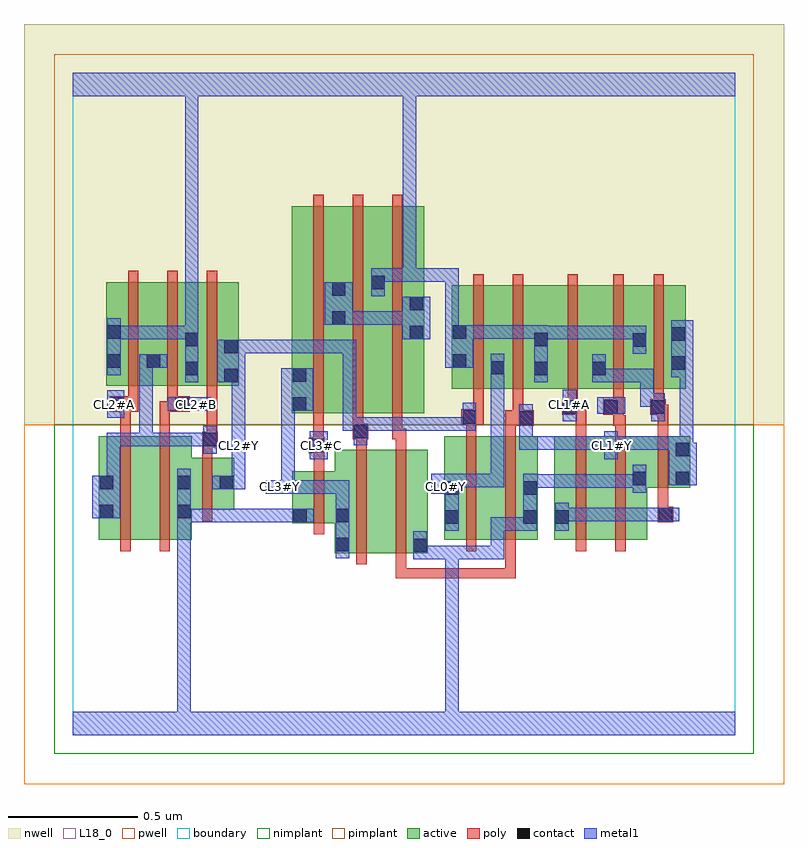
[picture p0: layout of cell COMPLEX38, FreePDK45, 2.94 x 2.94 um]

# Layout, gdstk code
import gdstk
lib = gdstk.Library(unit=1e-6, precision=1e-09)
def R(c, l, rs):  # rectangles x0, y0, x1, y1
    for r in rs: c.add(gdstk.rectangle(r[:2], r[2:], *l))
def A(c, l, x, y, w, h, nx, ny, dx, dy):  # array of equal rectangles
    R(c, l, [(x+i*dx, y+j*dy, x+i*dx+w, y+j*dy+h) for i in range(nx) for j in range(ny)])
active = (1, 0)
pwell = (2, 0)
nwell = (3, 0)
nimplant = (4, 0)
pimplant = (5, 0)
poly = (9, 0)
contact = (10, 0)
metal1 = (11, 0)
L18_0 = (18, 0)
boundary = (235, 0)

complex38 = lib.new_cell('COMPLEX38')
R(complex38, active, [(1.012,0.704,1.192,1.104), (1.012,0.704,1.072,0.88), (1.192,0.704,1.372,1.104), (1.312,0.704,1.372,1.104), (0.1,0.756,0.16,1.156), (0.1,0.756,0.28,1.156), (0.28,0.756,0.46,1.156), (0.4,0.756,0.46,1.072), (1.436,0.756,1.496,1.156), (1.436,0.756,1.616,1.156), (1.616,0.756,1.796,1.156), (1.736,0.756,1.796,1.156), (1.86,0.756,1.92,1.156), (1.86,0.756,2.04,1.156), (2.04,0.756,2.22,1.156), (2.16,0.756,2.22,1.156), (0.848,0.82,0.908,1.02), (0.848,0.82,1.072,1.02), (0.4,0.872,0.624,1.072), (0.564,0.872,0.624,1.072), (2.16,0.956,2.386,1.156), (2.326,0.956,2.386,1.156), (0.846,1.244,0.906,2.044), (0.846,1.244,1.058,2.044), (0.998,1.244,1.058,2.044), (0.998,1.244,1.21,2.044), (1.15,1.244,1.358,2.044), (1.298,1.244,1.358,2.044), (1.464,1.338,1.524,1.644), (1.464,1.338,1.672,1.738), (1.612,1.338,1.672,1.644), (1.612,1.338,1.84,1.738), (1.78,1.338,1.84,1.644), (1.78,1.338,2.064,1.738), (2.004,1.338,2.064,1.644), (2.004,1.338,2.22,1.738), (2.16,1.338,2.22,1.644), (2.16,1.338,2.368,1.738), (2.308,1.338,2.368,1.644), (0.13,1.35,0.19,1.644), (0.13,1.35,0.342,1.75), (0.282,1.35,0.49,1.75), (0.282,1.35,0.342,1.644), (0.43,1.35,0.49,1.644), (0.43,1.35,0.642,1.75), (0.582,1.35,0.642,1.644), (1.15,1.686,1.21,2.044)])
R(complex38, pwell, [(-0.188,-0.188,2.748,1.2)])
R(complex38, nwell, [(-0.188,1.2,2.748,2.748)])
R(complex38, nimplant, [(-0.072,-0.072,2.632,1.2)])
R(complex38, pimplant, [(-0.072,1.2,2.632,2.632)])
A(complex38, poly, 0.93, 1.2, 0.04, 0.888, 3, 1, 0.152, 0)
A(complex38, poly, 0.214, 1.306, 0.04, 0.488, 3, 1, 0.152, 0)
R(complex38, poly, [(1.248,0.606,1.288,0.646), (1.248,0.606,1.288,0.646), (1.248,0.606,1.288,0.646), (1.248,0.606,1.482,0.646), (1.248,0.606,1.288,0.7), (1.442,0.606,1.482,0.646), (1.442,0.606,1.482,0.646), (1.442,0.606,1.482,0.646), (1.442,0.606,1.712,0.646), (1.672,0.606,1.712,0.646), (1.672,0.606,1.712,0.646), (1.672,0.606,1.712,0.646), (1.672,0.606,1.712,0.752), (1.096,0.66,1.136,1.148), (1.248,0.66,1.288,1.148), (0.184,0.712,0.224,1.2), (0.336,0.712,0.376,1.2), (1.52,0.712,1.56,1.2), (1.672,0.712,1.712,1.2), (1.944,0.712,1.984,1.2), (2.096,0.712,2.136,1.2), (0.932,0.776,0.972,1.064), (2.26,0.824,2.32,0.884), (0.5,0.828,0.54,1.116), (2.26,0.844,2.3,0.952), (2.26,0.912,2.3,1.2), (0.932,1.024,0.972,1.13), (0.5,1.076,0.54,1.152), (0.912,1.09,0.972,1.15), (0.932,1.09,0.972,1.13), (0.932,1.09,0.972,1.13), (1.096,1.108,1.136,1.184), (1.248,1.108,1.288,1.184), (0.93,1.11,0.97,1.24), (0.5,1.112,0.56,1.172), (0.518,1.132,0.558,1.172), (0.518,1.132,0.558,1.172), (0.518,1.132,0.558,1.346), (1.082,1.144,1.142,1.204), (1.096,1.144,1.136,1.184), (1.096,1.144,1.136,1.184), (1.234,1.144,1.274,1.24), (1.234,1.144,1.288,1.184), (1.248,1.144,1.288,1.184), (1.248,1.144,1.288,1.184), (0.184,1.16,0.224,1.29), (0.336,1.16,0.376,1.29), (1.52,1.16,1.56,1.24), (1.672,1.16,1.712,1.236), (1.944,1.16,1.984,1.278), (2.096,1.16,2.136,1.236), (2.26,1.16,2.3,1.278), (1.082,1.164,1.122,1.24), (1.672,1.196,1.782,1.256), (2.088,1.196,2.136,1.236), (2.088,1.196,2.128,1.278), (1.502,1.2,1.588,1.26), (1.52,1.2,1.56,1.24), (1.52,1.2,1.56,1.24), (1.7,1.216,1.74,1.256), (1.7,1.216,1.74,1.256), (1.7,1.216,1.74,1.334), (1.548,1.22,1.588,1.334), (1.892,1.238,1.952,1.298), (1.912,1.238,1.952,1.278), (1.912,1.238,1.984,1.278), (2.05,1.238,2.128,1.298), (2.232,1.238,2.292,1.298), (2.252,1.238,2.292,1.278), (2.252,1.238,2.3,1.278), (0.144,1.25,0.254,1.31), (0.184,1.25,0.224,1.29), (0.184,1.25,0.224,1.29), (0.336,1.25,0.406,1.29), (0.366,1.25,0.406,1.29), (0.366,1.25,0.452,1.31), (1.912,1.258,1.952,1.334), (2.088,1.258,2.128,1.334), (2.244,1.258,2.284,1.334), (0.214,1.27,0.254,1.346), (0.366,1.27,0.406,1.346), (1.548,1.294,1.588,1.782), (1.7,1.294,1.74,1.782), (1.912,1.294,1.952,1.782), (2.088,1.294,2.128,1.782), (2.244,1.294,2.284,1.782)])
R(complex38, contact, [(1.316,0.708,1.368,0.76), (1.016,0.712,1.068,0.764), (1.44,0.818,1.492,0.87), (1.74,0.818,1.792,0.87), (1.864,0.818,1.916,0.87), (0.852,0.824,0.904,0.876), (1.016,0.824,1.068,0.876), (2.264,0.828,2.316,0.88), (0.104,0.838,0.156,0.89), (0.404,0.838,0.456,0.89), (1.44,0.93,1.492,0.982), (1.74,0.93,1.792,0.982), (0.104,0.95,0.156,1.002), (0.404,0.95,0.456,1.002), (0.568,0.95,0.62,1.002), (2.164,0.966,2.216,1.018), (2.33,0.966,2.382,1.018), (2.33,1.078,2.382,1.13), (0.916,1.094,0.968,1.146), (0.504,1.116,0.556,1.168), (1.086,1.148,1.138,1.2), (1.726,1.2,1.778,1.252), (1.506,1.204,1.558,1.256), (1.896,1.242,1.948,1.294), (2.054,1.242,2.106,1.294), (2.236,1.242,2.288,1.294), (0.148,1.254,0.2,1.306), (0.396,1.254,0.448,1.306), (0.85,1.254,0.902,1.306), (0.586,1.364,0.638,1.416), (0.85,1.366,0.902,1.418), (0.434,1.392,0.486,1.444), (1.784,1.392,1.836,1.444), (2.008,1.392,2.06,1.444), (1.616,1.394,1.668,1.446), (2.312,1.412,2.364,1.464), (0.134,1.42,0.186,1.472), (0.286,1.42,0.338,1.472), (1.468,1.42,1.52,1.472), (0.586,1.476,0.638,1.528), (2.164,1.502,2.216,1.554), (0.434,1.504,0.486,1.556), (1.784,1.504,1.836,1.556), (2.312,1.524,2.364,1.576), (1.302,1.53,1.354,1.582), (0.134,1.532,0.186,1.584), (1.468,1.532,1.52,1.584), (1.002,1.586,1.054,1.638), (1.302,1.642,1.354,1.694), (1.002,1.698,1.054,1.75), (1.154,1.724,1.206,1.776)])
R(complex38, metal1, [(0,0,2.56,0.092), (0.404,0.04,0.456,0.092), (0.404,0.04,0.456,0.092), (0.404,0.04,0.456,0.092), (0.404,0.04,0.456,0.092), (0.404,0.04,0.456,0.092), (0.404,0.04,0.456,0.092), (0.404,0.04,0.456,0.092), (0.404,0.04,0.456,0.092), (0.404,0.04,0.456,0.862), (1.44,0.04,1.492,0.092), (1.44,0.04,1.492,0.092), (1.44,0.04,1.492,0.092), (1.44,0.04,1.492,0.092), (1.44,0.04,1.492,0.092), (1.44,0.04,1.492,0.092), (1.44,0.04,1.492,0.092), (1.44,0.04,1.492,0.092), (1.44,0.04,1.492,0.732), (1.316,0.68,1.368,0.788), (1.316,0.68,1.492,0.732), (1.44,0.68,1.492,0.732), (1.44,0.68,1.492,0.732), (1.44,0.68,1.492,0.732), (1.44,0.68,1.492,0.732), (1.44,0.68,1.492,0.732), (1.44,0.68,1.492,0.732), (1.44,0.68,1.492,0.732), (1.44,0.68,1.492,0.732), (1.44,0.68,1.492,0.732), (1.44,0.68,1.492,0.732), (1.44,0.68,1.492,0.732), (1.44,0.68,1.668,0.732), (1.616,0.68,1.668,0.732), (1.616,0.68,1.668,0.842), (1.016,0.684,1.068,0.904), (1.44,0.79,1.492,1.01), (1.616,0.79,1.668,0.842), (1.616,0.79,1.792,0.842), (1.74,0.79,1.792,0.842), (1.74,0.79,1.792,0.842), (1.74,0.79,1.792,1.01), (1.864,0.79,1.916,0.898), (0.404,0.81,0.456,0.862), (0.404,0.81,0.456,0.862), (0.404,0.81,0.456,0.862), (0.404,0.81,0.456,0.862), (0.404,0.81,0.456,1.03), (0.404,0.824,0.456,0.876), (0.404,0.824,0.456,0.876), (0.404,0.824,0.596,0.876), (0.544,0.824,0.596,0.876), (0.544,0.824,0.596,0.876), (0.544,0.824,0.596,0.876), (0.544,0.824,0.596,0.876), (0.544,0.824,0.596,0.876), (0.544,0.824,0.876,0.876), (0.824,0.824,0.932,0.876), (1.864,0.828,1.968,0.88), (1.916,0.828,1.968,0.88), (1.916,0.828,2.078,0.88), (2.026,0.828,2.078,0.88), (2.026,0.828,2.078,0.88), (2.026,0.828,2.078,0.88), (2.026,0.828,2.244,0.88), (2.192,0.828,2.244,0.88), (2.192,0.828,2.288,0.88), (2.236,0.828,2.344,0.88), (0.076,0.838,0.184,1.002), (1.016,0.852,1.068,0.986), (0.746,0.934,0.858,0.986), (0.806,0.934,0.858,0.986), (0.806,0.934,0.858,0.986), (0.806,0.934,1.068,0.986), (0.806,0.934,0.858,1.306), (1.016,0.934,1.068,0.986), (1.386,0.934,1.494,1.01), (1.44,0.934,1.492,0.986), (2.164,0.938,2.216,1.046), (0.132,0.95,0.184,1.168), (0.54,0.95,0.666,1.002), (0.614,0.95,0.666,1.118), (1.74,0.956,1.95,1.008), (1.898,0.956,1.95,1.008), (1.898,0.956,1.95,1.008), (1.898,0.956,1.95,1.008), (1.898,0.956,2.078,1.008), (2.026,0.956,2.078,1.008), (2.026,0.956,2.078,1.008), (2.026,0.956,2.078,1.008), (2.026,0.956,2.216,1.008), (1.442,0.958,1.494,1.01), (1.442,0.958,1.494,1.01), (1.442,0.958,1.668,1.01), (1.616,0.958,1.668,1.01), (1.616,0.958,1.668,1.418), (2.302,0.966,2.41,1.13), (0.614,1.066,0.666,1.174), (0.916,1.066,0.986,1.174), (2.054,1.066,2.106,1.174), (2.346,1.078,2.398,1.156), (0.504,1.088,0.556,1.196), (1.726,1.104,1.902,1.156), (1.726,1.104,1.778,1.224), (1.85,1.104,1.902,1.156), (1.85,1.104,1.946,1.156), (1.894,1.104,1.946,1.156), (1.894,1.104,2.106,1.156), (2.054,1.104,2.106,1.156), (2.054,1.104,2.106,1.156), (2.054,1.104,2.244,1.156), (2.192,1.104,2.244,1.156), (2.192,1.104,2.398,1.156), (2.346,1.104,2.398,1.436), (2.346,1.104,2.398,1.156), (2.346,1.104,2.398,1.156), (2.346,1.104,2.398,1.156), (2.346,1.104,2.398,1.156), (2.346,1.104,2.398,1.156), (0.132,1.116,0.184,1.168), (0.132,1.116,0.184,1.168), (0.132,1.116,0.184,1.168), (0.132,1.116,0.31,1.168), (0.258,1.116,0.31,1.168), (0.258,1.116,0.31,1.168), (0.258,1.116,0.31,1.168), (0.258,1.116,0.31,1.168), (0.258,1.116,0.31,1.168), (0.258,1.116,0.482,1.168), (0.258,1.116,0.31,1.472), (0.43,1.116,0.482,1.168), (0.43,1.116,0.556,1.168), (1.086,1.12,1.138,1.228), (0.614,1.122,0.666,1.416), (1.726,1.172,1.778,1.224), (1.726,1.172,1.778,1.28), (1.044,1.176,1.096,1.228), (1.044,1.176,1.138,1.228), (1.044,1.176,1.096,1.528), (1.086,1.176,1.216,1.228), (1.164,1.176,1.216,1.228), (1.164,1.176,1.328,1.228), (1.276,1.176,1.328,1.228), (1.276,1.176,1.328,1.228), (1.276,1.176,1.328,1.228), (1.276,1.176,1.558,1.228), (1.506,1.176,1.558,1.228), (1.506,1.176,1.558,1.228), (1.506,1.176,1.558,1.284), (1.894,1.214,1.948,1.336), (2.236,1.214,2.288,1.322), (0.134,1.226,0.2,1.334), (2.026,1.242,2.134,1.306), (0.368,1.254,0.534,1.306), (0.806,1.254,0.858,1.306), (0.806,1.254,0.858,1.306), (0.806,1.254,0.93,1.418), (2.192,1.27,2.244,1.322), (2.192,1.27,2.288,1.322), (2.192,1.27,2.244,1.416), (0.434,1.364,0.486,1.584), (0.558,1.364,0.666,1.528), (0.614,1.364,0.666,1.416), (0.614,1.364,0.666,1.416), (1.784,1.364,1.836,1.584), (2.008,1.364,2.06,1.472), (2.008,1.364,2.178,1.416), (2.126,1.364,2.178,1.416), (2.126,1.364,2.244,1.416), (2.192,1.364,2.244,1.416), (1.616,1.366,1.668,1.418), (1.616,1.366,1.668,1.418), (1.616,1.366,1.668,1.474), (2.312,1.384,2.398,1.604), (0.134,1.392,0.186,1.612), (0.258,1.42,0.366,1.472), (1.44,1.42,1.548,1.584), (2.164,1.474,2.216,1.582), (0.614,1.476,0.666,1.528), (0.614,1.476,0.666,1.528), (0.614,1.476,0.666,1.528), (0.614,1.476,0.666,1.528), (0.614,1.476,0.916,1.528), (0.864,1.476,0.916,1.528), (0.864,1.476,1.096,1.528), (1.044,1.476,1.096,1.528), (1.044,1.476,1.096,1.528), (1.044,1.476,1.096,1.528), (0.134,1.53,0.186,1.582), (0.134,1.53,0.186,1.582), (0.134,1.53,0.31,1.582), (0.258,1.53,0.31,1.582), (0.258,1.53,0.31,1.582), (0.258,1.53,0.31,1.582), (0.258,1.53,0.486,1.582), (1.274,1.53,1.382,1.694), (1.784,1.53,1.95,1.582), (1.898,1.53,1.95,1.582), (1.898,1.53,1.95,1.582), (1.898,1.53,1.95,1.582), (1.898,1.53,2.078,1.582), (2.026,1.53,2.078,1.582), (2.026,1.53,2.078,1.582), (2.026,1.53,2.078,1.582), (2.026,1.53,2.216,1.582), (0.434,1.532,0.486,2.52), (1.44,1.532,1.492,1.804), (1.496,1.532,1.548,1.584), (1.496,1.532,1.548,1.584), (1.496,1.532,1.668,1.584), (1.616,1.532,1.668,1.584), (1.616,1.532,1.668,1.584), (1.616,1.532,1.668,1.584), (1.616,1.532,1.836,1.584), (0.974,1.586,1.082,1.75), (1.03,1.586,1.206,1.638), (1.154,1.586,1.206,1.638), (1.154,1.586,1.206,1.638), (1.154,1.586,1.206,1.638), (1.154,1.586,1.326,1.638), (1.274,1.586,1.326,1.638), (1.274,1.586,1.326,1.638), (1.154,1.696,1.206,1.804), (1.154,1.752,1.328,1.804), (1.276,1.752,1.328,1.804), (1.276,1.752,1.328,1.804), (1.276,1.752,1.328,1.804), (1.276,1.752,1.328,1.804), (1.276,1.752,1.328,1.804), (1.276,1.752,1.492,1.804), (1.276,1.752,1.328,2.52), (1.44,1.752,1.492,1.804), (1.44,1.752,1.492,1.804), (1.44,1.752,1.492,1.804), (1.44,1.752,1.492,1.804), (1.44,1.752,1.492,1.804), (1.44,1.752,1.492,1.804), (1.44,1.752,1.492,1.804), (0,2.468,2.56,2.56), (0.434,2.468,0.486,2.52), (0.434,2.468,0.486,2.52), (0.434,2.468,0.486,2.52), (0.434,2.468,0.486,2.52), (0.434,2.468,0.486,2.52), (0.434,2.468,0.486,2.52), (0.434,2.468,0.486,2.52), (0.434,2.468,0.486,2.52), (0.434,2.468,0.486,2.52), (0.434,2.468,0.486,2.52), (0.434,2.468,0.486,2.52), (0.434,2.468,0.486,2.52), (0.434,2.468,0.486,2.52), (0.434,2.468,0.486,2.52), (0.434,2.468,0.486,2.52), (0.434,2.468,0.486,2.52), (1.276,2.468,1.328,2.52), (1.276,2.468,1.328,2.52), (1.276,2.468,1.328,2.52), (1.276,2.468,1.328,2.52), (1.276,2.468,1.328,2.52), (1.276,2.468,1.328,2.52)])
R(complex38, L18_0, [(0,0,2.56,0.092), (0.404,0.04,0.456,0.092), (0.404,0.04,0.456,0.092), (0.404,0.04,0.456,0.092), (0.404,0.04,0.456,0.092), (0.404,0.04,0.456,0.092), (0.404,0.04,0.456,0.092), (0.404,0.04,0.456,0.092), (0.404,0.04,0.456,0.092), (0.404,0.04,0.456,0.862), (1.44,0.04,1.492,0.092), (1.44,0.04,1.492,0.092), (1.44,0.04,1.492,0.092), (1.44,0.04,1.492,0.092), (1.44,0.04,1.492,0.092), (1.44,0.04,1.492,0.092), (1.44,0.04,1.492,0.092), (1.44,0.04,1.492,0.092), (1.44,0.04,1.492,0.732), (1.316,0.68,1.492,0.732), (1.316,0.68,1.368,0.788), (1.44,0.68,1.492,0.732), (1.44,0.68,1.492,0.732), (1.44,0.68,1.492,0.732), (1.44,0.68,1.492,0.732), (1.44,0.68,1.492,0.732), (1.44,0.68,1.492,0.732), (1.44,0.68,1.492,0.732), (1.44,0.68,1.492,0.732), (1.44,0.68,1.492,0.732), (1.44,0.68,1.492,0.732), (1.44,0.68,1.492,0.732), (1.44,0.68,1.668,0.732), (1.616,0.68,1.668,0.732), (1.616,0.68,1.668,0.842), (1.016,0.684,1.068,0.904), (1.44,0.79,1.492,1.01), (1.616,0.79,1.668,0.842), (1.616,0.79,1.792,0.842), (1.74,0.79,1.792,1.01), (1.74,0.79,1.792,0.842), (1.74,0.79,1.792,0.842), (0.404,0.81,0.456,1.03), (0.404,0.81,0.456,0.862), (0.404,0.81,0.456,0.862), (0.404,0.81,0.456,0.862), (0.404,0.81,0.456,0.862), (0.404,0.824,0.456,0.876), (0.404,0.824,0.456,0.876), (0.404,0.824,0.596,0.876), (0.544,0.824,0.596,0.876), (0.544,0.824,0.596,0.876), (0.544,0.824,0.596,0.876), (0.544,0.824,0.596,0.876), (0.544,0.824,0.596,0.876), (0.544,0.824,0.876,0.876), (0.824,0.824,0.932,0.876), (1.016,0.852,1.068,0.986), (0.746,0.934,0.858,0.986), (0.774,0.934,0.826,0.986), (0.806,0.934,0.858,0.986), (0.806,0.934,0.858,0.986), (0.806,0.934,0.858,1.306), (0.806,0.934,1.068,0.986), (1.016,0.934,1.068,0.986), (1.386,0.934,1.494,1.01), (1.414,0.934,1.466,0.986), (1.44,0.934,1.492,0.986), (2.164,0.938,2.216,1.046), (0.54,0.95,0.666,1.002), (0.614,0.95,0.666,1.118), (1.74,0.956,1.95,1.008), (1.898,0.956,1.95,1.008), (1.898,0.956,1.95,1.008), (1.898,0.956,1.95,1.008), (1.898,0.956,2.078,1.008), (2.026,0.956,2.078,1.008), (2.026,0.956,2.078,1.008), (2.026,0.956,2.078,1.008), (2.026,0.956,2.216,1.008), (1.442,0.958,1.494,1.01), (1.442,0.958,1.494,1.01), (1.442,0.958,1.668,1.01), (1.616,0.958,1.668,1.01), (1.616,0.958,1.668,1.418), (2.302,0.966,2.41,1.13), (0.614,1.066,0.666,1.174), (0.916,1.066,0.986,1.174), (2.054,1.066,2.106,1.174), (2.346,1.078,2.398,1.156), (0.614,1.094,0.666,1.146), (0.934,1.094,0.986,1.146), (2.054,1.094,2.106,1.146), (1.726,1.104,1.902,1.156), (1.726,1.104,1.778,1.224), (1.85,1.104,1.902,1.156), (1.85,1.104,1.946,1.156), (1.894,1.104,1.946,1.156), (1.894,1.104,2.106,1.156), (2.054,1.104,2.106,1.156), (2.054,1.104,2.106,1.156), (2.054,1.104,2.244,1.156), (2.192,1.104,2.244,1.156), (2.192,1.104,2.398,1.156), (2.346,1.104,2.398,1.156), (2.346,1.104,2.398,1.156), (2.346,1.104,2.398,1.156), (2.346,1.104,2.398,1.156), (2.346,1.104,2.398,1.156), (2.346,1.104,2.398,1.436), (1.086,1.12,1.138,1.228), (0.614,1.122,0.666,1.416), (1.726,1.172,1.778,1.224), (1.726,1.172,1.778,1.28), (1.044,1.176,1.096,1.228), (1.044,1.176,1.096,1.528), (1.044,1.176,1.138,1.228), (1.086,1.176,1.216,1.228), (1.164,1.176,1.216,1.228), (1.164,1.176,1.328,1.228), (1.276,1.176,1.328,1.228), (1.276,1.176,1.328,1.228), (1.276,1.176,1.328,1.228), (1.276,1.176,1.558,1.228), (1.506,1.176,1.558,1.228), (1.506,1.176,1.558,1.228), (1.506,1.176,1.558,1.284), (1.894,1.214,1.948,1.336), (0.134,1.226,0.2,1.334), (2.026,1.242,2.134,1.306), (0.134,1.254,0.186,1.306), (0.368,1.254,0.534,1.306), (0.454,1.254,0.506,1.306), (0.806,1.254,0.858,1.306), (0.806,1.254,0.858,1.306), (0.806,1.254,0.93,1.418), (1.894,1.254,1.946,1.306), (2.054,1.254,2.106,1.306), (0.434,1.364,0.486,1.584), (0.558,1.364,0.666,1.528), (0.614,1.364,0.666,1.416), (0.614,1.364,0.666,1.416), (1.784,1.364,1.836,1.584), (1.616,1.366,1.668,1.418), (1.616,1.366,1.668,1.418), (1.616,1.366,1.668,1.474), (2.312,1.384,2.398,1.604), (0.134,1.392,0.186,1.612), (1.44,1.42,1.548,1.584), (2.164,1.474,2.216,1.582), (0.614,1.476,0.666,1.528), (0.614,1.476,0.666,1.528), (0.614,1.476,0.666,1.528), (0.614,1.476,0.666,1.528), (0.614,1.476,0.916,1.528), (0.864,1.476,0.916,1.528), (0.864,1.476,1.096,1.528), (1.044,1.476,1.096,1.528), (1.044,1.476,1.096,1.528), (1.044,1.476,1.096,1.528), (0.134,1.53,0.186,1.582), (0.134,1.53,0.186,1.582), (0.134,1.53,0.31,1.582), (0.258,1.53,0.31,1.582), (0.258,1.53,0.31,1.582), (0.258,1.53,0.31,1.582), (0.258,1.53,0.486,1.582), (1.784,1.53,1.95,1.582), (1.898,1.53,1.95,1.582), (1.898,1.53,1.95,1.582), (1.898,1.53,1.95,1.582), (1.898,1.53,2.078,1.582), (2.026,1.53,2.078,1.582), (2.026,1.53,2.078,1.582), (2.026,1.53,2.078,1.582), (2.026,1.53,2.216,1.582), (0.434,1.532,0.486,2.52), (1.44,1.532,1.492,1.804), (1.496,1.532,1.548,1.584), (1.496,1.532,1.548,1.584), (1.496,1.532,1.668,1.584), (1.616,1.532,1.668,1.584), (1.616,1.532,1.668,1.584), (1.616,1.532,1.668,1.584), (1.616,1.532,1.836,1.584), (1.154,1.696,1.206,1.804), (1.154,1.752,1.328,1.804), (1.276,1.752,1.328,1.804), (1.276,1.752,1.328,1.804), (1.276,1.752,1.328,1.804), (1.276,1.752,1.328,1.804), (1.276,1.752,1.328,1.804), (1.276,1.752,1.328,2.52), (1.276,1.752,1.492,1.804), (1.44,1.752,1.492,1.804), (1.44,1.752,1.492,1.804), (1.44,1.752,1.492,1.804), (1.44,1.752,1.492,1.804), (1.44,1.752,1.492,1.804), (1.44,1.752,1.492,1.804), (1.44,1.752,1.492,1.804), (0,2.468,2.56,2.56), (0.434,2.468,0.486,2.52), (0.434,2.468,0.486,2.52), (0.434,2.468,0.486,2.52), (0.434,2.468,0.486,2.52), (0.434,2.468,0.486,2.52), (0.434,2.468,0.486,2.52), (0.434,2.468,0.486,2.52), (0.434,2.468,0.486,2.52), (0.434,2.468,0.486,2.52), (0.434,2.468,0.486,2.52), (0.434,2.468,0.486,2.52), (0.434,2.468,0.486,2.52), (0.434,2.468,0.486,2.52), (0.434,2.468,0.486,2.52), (0.434,2.468,0.486,2.52), (0.434,2.468,0.486,2.52), (1.276,2.468,1.328,2.52), (1.276,2.468,1.328,2.52), (1.276,2.468,1.328,2.52), (1.276,2.468,1.328,2.52), (1.276,2.468,1.328,2.52), (1.276,2.468,1.328,2.52)])
R(complex38, boundary, [(0,0,2.56,2.56)])
complex38.add(gdstk.Label('CL0#Y', (1.44,0.96), layer=11, texttype=0))
complex38.add(gdstk.Label('CL1#A', (1.92,1.28), layer=11, texttype=0))
complex38.add(gdstk.Label('CL1#B', (2.08,1.28), layer=11, texttype=0))
complex38.add(gdstk.Label('CL1#Y', (2.08,1.12), layer=11, texttype=0))
complex38.add(gdstk.Label('CL2#A', (0.16,1.28), layer=11, texttype=0))
complex38.add(gdstk.Label('CL2#B', (0.48,1.28), layer=11, texttype=0))
complex38.add(gdstk.Label('CL2#Y', (0.64,1.12), layer=11, texttype=0))
complex38.add(gdstk.Label('CL3#C', (0.96,1.12), layer=11, texttype=0))
complex38.add(gdstk.Label('CL3#Y', (0.8,0.96), layer=11, texttype=0))

lib.write_gds('COMPLEX38.gds')
